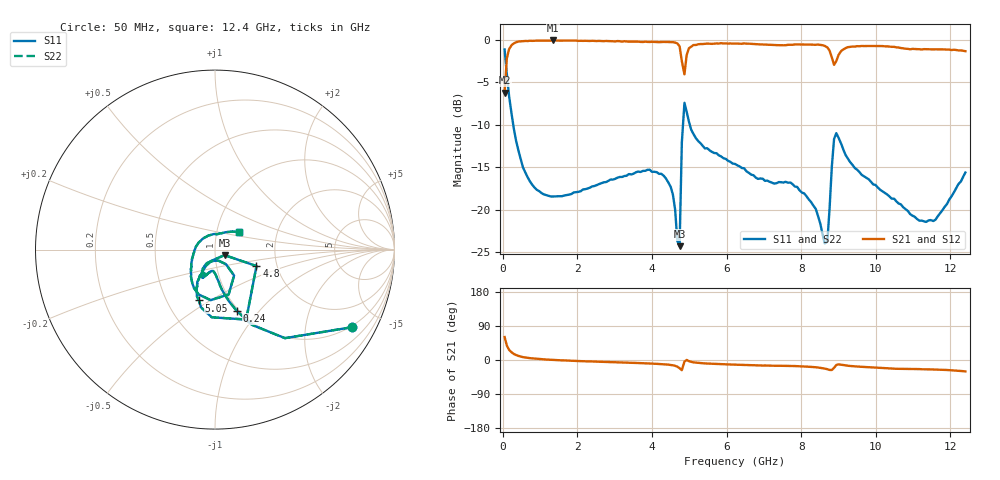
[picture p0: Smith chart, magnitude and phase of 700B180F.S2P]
!  American Technical Ceramics  Date:  3/13/98
!  One Norden Lane
!  Huntington Station,  NY.  11746-2102
!  Tel:  (516) 547-5700  Fax:  (516) 547-5748
!  Part Number  700B180F
!  Description: Porcelain, High Q, Low ESR
!  Application: Bypass, Coupling, Timing, Feedback
!  Tuning, Impedance Match, Blocking
# GHZ S DB R 50
! Freq  |S11|  S11 Ph  |S21|  S21 Ph  |S12|  S12 Ph  |S22|  S22 Ph
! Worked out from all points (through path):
!   201 points, 50 MHz to 12.4 GHz, reference 50 ohm
!   highest |S21| = -0.07 dB at 1.35 GHz (marker M1); lowest = -6.2 dB at 50 MHz (marker M2)
!   group delay of S21, straight-line fit = 7.82 ps
!   lowest |S11| = -24.3 dB at 4.74 GHz (marker M3), VSWR 1.13, Z = 55.5 - j3.42 ohm
!   |S11| at or under -10 dB: 282.2 MHz to 4.831 GHz (4.549 GHz wide, 178 % of centre); 5.015 GHz to end of sweep
!   |S22| runs from -24.3 to -1.1 dB; largest |S21 - S12| = 0
!   S11 on the Smith chart (normalised r, x): 50 MHz: 0.95, -3.57; 240 MHz: 0.98, -0.77; 4.8 GHz: 1.56, -0.31; 5.05 GHz: 0.72, -0.45; 12.4 GHz: 1.28, +0.26
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0.05  -1.13 -29.5  -6.20 60.5  -6.20 60.5  -1.13 -29.5
0.11  -4.03 -51.7  -2.18 38.1  -2.18 38.1  -4.03 -51.7
0.24  -8.79 -70.4  -0.61 20.1  -0.61 20.1  -8.79 -70.4
0.67  -16.18 -86.3  -0.14 5.7  -0.14 5.7  -16.18 -86.3
1.35  -18.42 -95.9  -0.07 0.3  -0.07 0.3  -18.42 -95.9
2.15  -17.59 -103.6  -0.12 -3.1  -0.12 -3.1  -17.59 -103.6
4.19  -15.76 -117.8  -0.27 -10.6  -0.27 -10.6  -15.76 -117.8
4.56  -18.18 -119.7  -0.27 -14.0  -0.27 -14.0  -18.18 -119.7
4.74  -24.26 -30.1  -0.75 -21.7  -0.75 -21.7  -24.26 -30.1
4.8  -12.09 -21.6  -2.50 -26.8  -2.50 -26.8  -12.09 -21.6
4.87  -7.40 -66.0  -4.05 -4.3  -4.05 -4.3  -7.40 -66.0
4.93  -8.46 -92.7  -1.78 0.2  -1.78 0.2  -8.46 -92.7
5.05  -10.55 -107.4  -0.81 -4.8  -0.81 -4.8  -10.55 -107.4
6.23  -14.60 -118.6  -0.43 -12.3  -0.43 -12.3  -14.60 -118.6
8.32  -19.45 -122.3  -0.56 -18.6  -0.56 -18.6  -19.45 -122.3
8.7  -23.74 -72.2  -0.89 -24.3  -0.89 -24.3  -23.74 -72.2
8.88  -11.66 -73.1  -2.94 -20.7  -2.94 -20.7  -11.66 -73.1
8.94  -10.97 -94.9  -2.49 -13.2  -2.49 -13.2  -10.97 -94.9
9.25  -13.95 -131.9  -0.86 -15.2  -0.86 -15.2  -13.95 -131.9
10.36  -18.39 -170.9  -0.79 -22.1  -0.79 -22.1  -18.39 -170.9
11.54  -21.30 84.0  -1.12 -25.1  -1.12 -25.1  -21.30 84.0
12.4  -15.60 36.4  -1.33 -30.1  -1.33 -30.1  -15.60 36.4
